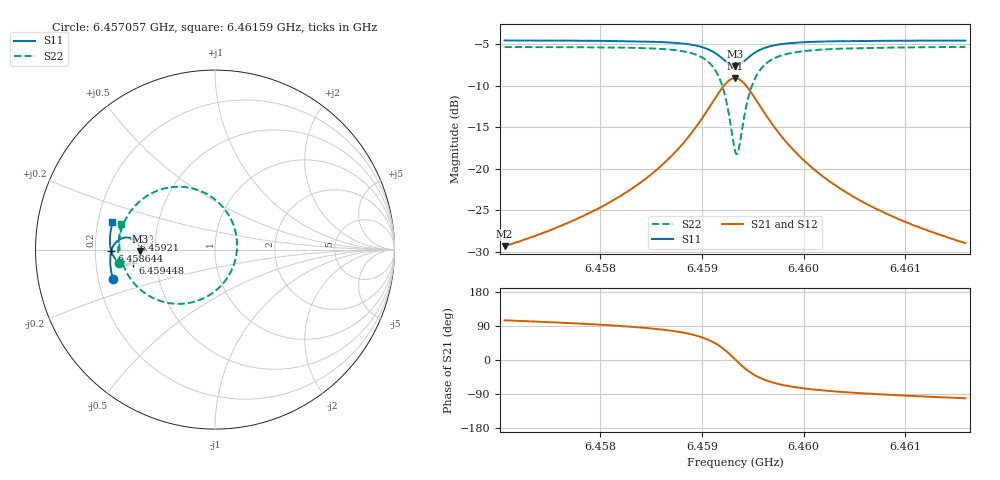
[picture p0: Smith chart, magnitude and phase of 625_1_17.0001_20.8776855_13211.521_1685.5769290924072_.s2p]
#  HZ  S  RI  R  50.00
! Rohde & Schwarz Vector Network Analyzer
! Rohde-Schwarz,ZNB20-2Port,1311601062101988,3.16
! Created: UTC 3/20/2024, 11:20:05 PM
! freq[Hz]  re:S11  im:S11  re:S21  im:S21  re:S12  im:S12  re:S22  im:S22
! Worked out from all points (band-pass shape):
!   401 points, 6.457057 GHz to 6.46159 GHz, reference 50 ohm
!   highest |S21| = -9.09 dB at 6.459324 GHz (marker M1); lowest = -29.3 dB at 6.457057 GHz (marker M2)
!   |S21| within 3 dB of the highest: 6.459098 GHz to 6.459551 GHz (453.1 kHz wide, 0.00701 % of centre)
!   lowest |S11| = -7.6 dB at 6.459324 GHz (marker M3), VSWR 2.42, Z = 20.6 - j0.381 ohm
!   |S11| at or under -10 dB: nowhere
!   |S22| runs from -18.2 to -5.3 dB; largest |S21 - S12| = 0.014
!   S11 on the Smith chart (normalised r, x): 6.457057 GHz: 0.26, -0.13; 6.458644 GHz: 0.27, -0.01; 6.45921 GHz: 0.38, +0.05; 6.459448 GHz: 0.37, -0.07; 6.46159 GHz: 0.26, +0.12
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6.4570573e9  -0.5684 -0.1661  -0.0087 0.0331  -0.00681 0.033  -0.535 -0.0771
6.4578166e9  -0.5816 -0.0991  -0.00515 0.0513  -0.00252 0.0507  -0.539 0.013
6.4581905e9  -0.584 -0.0618  0.000107 0.0681  0.00328 0.0669  -0.5318 0.072
6.4585758e9  -0.5798 -0.0159  0.0154 0.1002  0.0194 0.0974  -0.5032 0.1584
6.4586438e9  -0.5774 -0.00639  0.0208 0.1088  0.0249 0.1054  -0.4928 0.1784
6.4588365e9  -0.5644 0.024  0.0479 0.1397  0.052 0.1347  -0.4416 0.2481
6.4589838e9  -0.5412 0.0503  0.0943 0.1705  0.0974 0.1637  -0.3562 0.3124
6.4591198e9  -0.4968 0.0675  0.1829 0.1866  0.1836 0.1792  -0.1941 0.3503
6.4592104e9  -0.4516 0.0567  0.274 0.1543  0.274 0.1485  -0.0251 0.2974
6.4592784e9  -0.4223 0.024  0.3349 0.081  0.3369 0.0758  0.0914 0.1648
6.4593237e9  -0.4154 -0.00763  0.3511 0.0119  0.355 0.00488  0.1232 0.0353
6.4593577e9  -0.4196 -0.0317  0.3448 -0.0415  0.349 -0.0505  0.1109 -0.0661
6.4594031e9  -0.4355 -0.0583  0.3155 -0.1021  0.3179 -0.1142  0.0512 -0.1812
6.4594484e9  -0.4579 -0.0747  0.2725 -0.1436  0.2717 -0.1571  -0.0362 -0.2568
6.459539e9  -0.502 -0.0817  0.186 -0.1745  0.1798 -0.1864  -0.209 -0.3023
6.459607e9  -0.5265 -0.0742  0.1369 -0.1723  0.1287 -0.1814  -0.304 -0.2862
6.4596864e9  -0.5463 -0.0611  0.0967 -0.16  0.088 -0.1663  -0.3791 -0.2505
6.4598563e9  -0.5692 -0.0313  0.0492 -0.1294  0.0416 -0.1319  -0.4639 -0.172
6.460083e9  -0.5809 0.00231  0.0219 -0.099  0.016 -0.0995  -0.5083 -0.093
6.4604343e9  -0.5855 0.0445  0.00568 -0.0709  0.00152 -0.0703  -0.5298 -0.011
6.4608422e9  -0.5834 0.0857  -0.00169 -0.0528  -0.00456 -0.0518  -0.5335 0.0553
6.4615902e9  -0.5713 0.1521  -0.00684 -0.0352  -0.00849 -0.0341  -0.5219 0.1448
